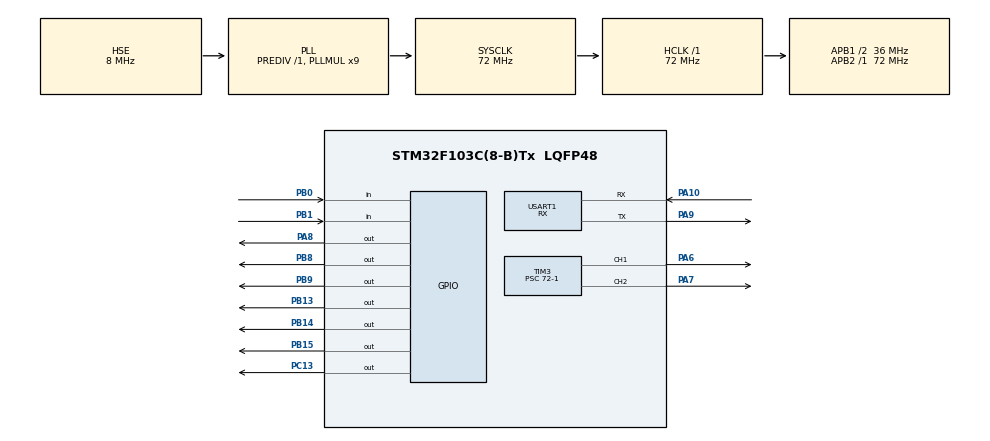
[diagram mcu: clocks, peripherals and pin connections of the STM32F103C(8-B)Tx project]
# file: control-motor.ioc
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Mcu.Family=STM32F1
Mcu.Name=STM32F103C(8-B)Tx
Mcu.Package=LQFP48
NVIC.PriorityGroup=NVIC_PRIORITYGROUP_4
NVIC.USART1_IRQn=true\:0\:0\:false\:false\:true\:true\:true\:true
PA10.Mode=Asynchronous
PA10.Signal=USART1_RX
PA13.Mode=Serial_Wire
PA13.Signal=SYS_JTMS-SWDIO
PA14.Mode=Serial_Wire
PA14.Signal=SYS_JTCK-SWCLK
PA6.Signal=S_TIM3_CH1
PA7.Signal=S_TIM3_CH2
PA8.GPIO_PuPd=GPIO_PULLUP
PA8.GPIO_Speed=GPIO_SPEED_FREQ_HIGH
PA8.PinState=GPIO_PIN_SET
PA8.Signal=GPIO_Output
PA9.Mode=Asynchronous
PA9.Signal=USART1_TX
PB0.GPIO_PuPd=GPIO_PULLUP
PB0.Signal=GPIO_Input
PB1.GPIO_PuPd=GPIO_PULLUP
PB1.Signal=GPIO_Input
PB13.PinState=GPIO_PIN_SET
PB13.Signal=GPIO_Output
PB14.PinState=GPIO_PIN_SET
PB14.Signal=GPIO_Output
PB15.PinState=GPIO_PIN_SET
PB15.Signal=GPIO_Output
PB8.GPIO_PuPd=GPIO_PULLUP
PB8.PinState=GPIO_PIN_SET
PB8.Signal=GPIO_Output
PB9.GPIO_PuPd=GPIO_PULLUP
PB9.PinState=GPIO_PIN_SET
PB9.Signal=GPIO_Output
PC13-TAMPER-RTC.PinState=GPIO_PIN_SET
PC13-TAMPER-RTC.Signal=GPIO_Output
PD0-OSC_IN.Mode=HSE-External-Oscillator
PD0-OSC_IN.Signal=RCC_OSC_IN
PD1-OSC_OUT.Mode=HSE-External-Oscillator
PD1-OSC_OUT.Signal=RCC_OSC_OUT
ProjectManager.HeapSize=0x200
ProjectManager.StackSize=0x400
ProjectManager.TargetToolchain=MDK-ARM V5.32
RCC.AHBFreq_Value=72000000
RCC.APB1CLKDivider=RCC_HCLK_DIV2
RCC.APB1Freq_Value=36000000
RCC.APB1TimFreq_Value=72000000
RCC.APB2Freq_Value=72000000
RCC.APB2TimFreq_Value=72000000
RCC.HCLKFreq_Value=72000000
RCC.PLLMUL=RCC_PLL_MUL9
RCC.PLLSourceVirtual=RCC_PLLSOURCE_HSE
RCC.SYSCLKFreq_VALUE=72000000
RCC.SYSCLKSource=RCC_SYSCLKSOURCE_PLLCLK
RCC.USBFreq_Value=72000000
SH.S_TIM3_CH1.0=TIM3_CH1,PWM Generation1 CH1
SH.S_TIM3_CH2.0=TIM3_CH2,PWM Generation2 CH2
TIM3.Channel-PWM\ Generation1\ CH1=TIM_CHANNEL_1
TIM3.Channel-PWM\ Generation2\ CH2=TIM_CHANNEL_2
TIM3.Period=500-1
TIM3.Prescaler=72-1
USART1.Mode=MODE_RX
USART1.VirtualMode=VM_ASYNC
VP_TIM3_VS_ClockSourceINT.Mode=Internal
board=custom

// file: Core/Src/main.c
/* USER CODE BEGIN Header */
/**
  ******************************************************************************
  * @file           : main.c
  * @brief          : Main program body
  ******************************************************************************
  * @attention
  *
  * Copyright (c) 2024 STMicroelectronics.
  * All rights reserved.
  *
  * This software is licensed under terms that can be found in the LICENSE file
  * in the root directory of this software component.
  * If no LICENSE file comes with this software, it is provided AS-IS.
  *
  ******************************************************************************
  */
/* USER CODE END Header */
#include "main.h"
#include "tim.h"
#include "usart.h"
#include "gpio.h"

/* USER CODE BEGIN PD */
#define PWM_X	TIM3->CCR1
#define PWM_Y	TIM3->CCR2
/* USER CODE END PD */

/* USER CODE BEGIN PV */
extern float theta_err,rho_err;
extern int Cx,Cy;
uint8_t cmd;
/* USER CODE END PV */

void SystemClock_Config(void);

int main(void)
{

  /* MCU Configuration--------------------------------------------------------*/

  /* Reset of all peripherals, Initializes the Flash interface and the Systick. */
  HAL_Init();

  /* Configure the system clock */
  SystemClock_Config();

  /* Initialize all configured peripherals */
  MX_GPIO_Init();
  MX_TIM3_Init();
  MX_USART1_UART_Init();
  /* USER CODE BEGIN 2 */
	OLED_Init();
	HAL_UART_Receive_IT(&huart1,(void *)&cmd, 1);
	PID_Init(0.15,0.001,0.32,4.5,0.09,0.25);
  /* USER CODE END 2 */

  /* Infinite loop */
  /* USER CODE BEGIN WHILE */
  while (1)
  {
		PWM_X+=Incremental_PID(TIM3->CCR1,30);
		PWM_Y+=Incremental_PID(TIM3->CCR2,30);
		PWM_X=limit_(PWM_X,2500);
		PWM_Y=limit_(PWM_Y,2500);
//		trace_red_2();
      /*
      0005 0027
      0052 0030
      0000
      */

    /* USER CODE END WHILE */

  }
}

void SystemClock_Config(void)
{
  RCC_OscInitTypeDef RCC_OscInitStruct = {0};
  RCC_ClkInitTypeDef RCC_ClkInitStruct = {0};

  /** Initializes the RCC Oscillators according to the specified parameters
  * in the RCC_OscInitTypeDef structure.
  */
  RCC_OscInitStruct.OscillatorType = RCC_OSCILLATORTYPE_HSE;
  RCC_OscInitStruct.HSEState = RCC_HSE_ON;
  RCC_OscInitStruct.HSEPredivValue = RCC_HSE_PREDIV_DIV1;
  RCC_OscInitStruct.HSIState = RCC_HSI_ON;
  RCC_OscInitStruct.PLL.PLLState = RCC_PLL_ON;
  RCC_OscInitStruct.PLL.PLLSource = RCC_PLLSOURCE_HSE;
  RCC_OscInitStruct.PLL.PLLMUL = RCC_PLL_MUL9;
  if (HAL_RCC_OscConfig(&RCC_OscInitStruct) != HAL_OK)
  {
    Error_Handler();
  }

  /** Initializes the CPU, AHB and APB buses clocks
  */
  RCC_ClkInitStruct.ClockType = RCC_CLOCKTYPE_HCLK|RCC_CLOCKTYPE_SYSCLK
                              |RCC_CLOCKTYPE_PCLK1|RCC_CLOCKTYPE_PCLK2;
  RCC_ClkInitStruct.SYSCLKSource = RCC_SYSCLKSOURCE_PLLCLK;
  RCC_ClkInitStruct.AHBCLKDivider = RCC_SYSCLK_DIV1;
  RCC_ClkInitStruct.APB1CLKDivider = RCC_HCLK_DIV2;
  RCC_ClkInitStruct.APB2CLKDivider = RCC_HCLK_DIV1;

  if (HAL_RCC_ClockConfig(&RCC_ClkInitStruct, FLASH_LATENCY_2) != HAL_OK)
  {
    Error_Handler();
  }
}

/* USER CODE BEGIN 4 */
void HAL_UART_RxCpltCallback(UART_HandleTypeDef *huart)
{
	uint16_t Serial_RxData;
  if(huart->Instance==USART1){

		HAL_GPIO_WritePin(GPIOC,GPIO_PIN_13,GPIO_PIN_SET);
		Serial_RxData=cmd;
		openmv_receive(Serial_RxData);
	}
	HAL_UART_Receive_IT(&huart1,(void *)&cmd, 1);   //锟劫匡拷锟斤拷锟斤拷锟斤拷锟叫讹拷
}
/* USER CODE END 4 */

void Error_Handler(void)
{
  __disable_irq();
  while (1)
  {
  }
}
